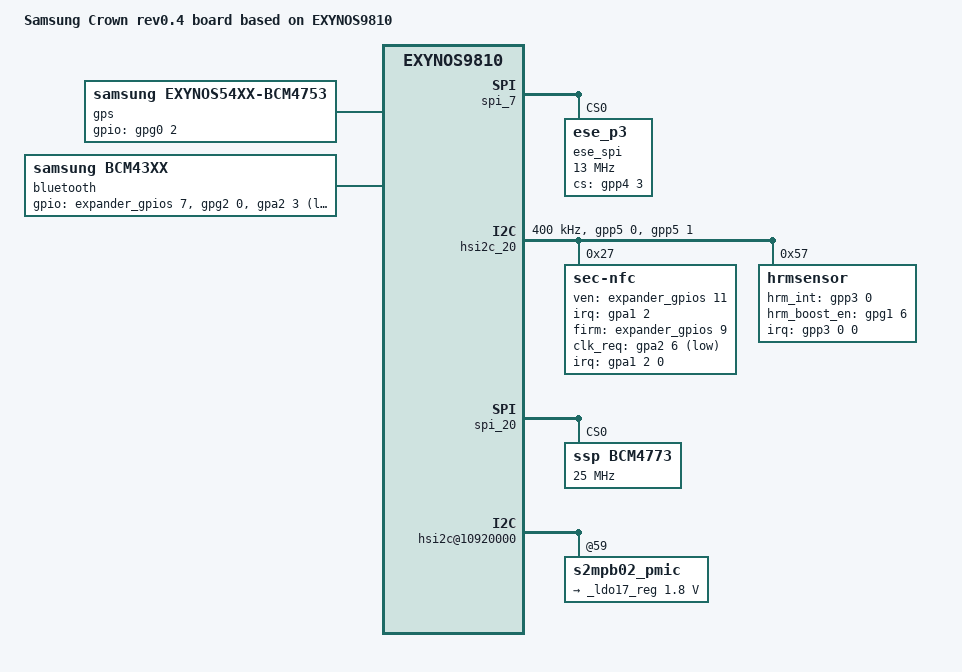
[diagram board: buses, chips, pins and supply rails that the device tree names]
/*
 * SAMSUNG EXYNOS9810 board device tree source
 *
 * Copyright (c) 2017 Samsung Electronics Co., Ltd.
 *		http://www.samsung.com
 *
 * This program is free software; you can redistribute it and/or modify
 * it under the terms of the GNU General Public License version 2 as
 * published by the Free Software Foundation.
 */

/dts-v1/;
#include "exynos9810-crownlte_common.dtsi"
#include "battery_data_crownlte_eur_23.dtsi"
#include "exynos9810-crownlte_fingerprint_19.dtsi"
#include "exynos9810-starlte_mst_01.dtsi"
#include "exynos9810-starlte_if-pmic-max77705.dtsi"
#include "exynos9810-crownlte_eur_open_gpio_01.dtsi"

/ {
	model = "Samsung Crown rev0.4 board based on EXYNOS9810";
	model_info-chip = <9810>;
	model_info-platform = "android";
	model_info-subtype = "samsung";
	model_info-hw_rev = <23>;
	model_info-hw_rev_end = <23>;
	compatible = "Samsung, Crown rev0.4", "Samsung,EXYNOS9810";

	pinctrl@10830000 {
		spi7_bus_suspend: spi7-bus-suspend {
			samsung,pins = "gpp4-2", "gpp4-1", "gpp4-0";
			samsung,pin-function = <0>;	/* INPUT */
			samsung,pin-pud = <1>;		/* DOWN */
			samsung,pin-drv = <0>;
		};
		spi7_cs_suspend: spi7-cs-suspend {
			samsung,pins = "gpp4-3";
			samsung,pin-function = <0>;	/* INPUT */
			samsung,pin-pud = <1>;		/* DOWN */
			samsung,pin-drv = <0>;
		};
	};
	/* SPI USI_PERIC1_USI06_SPI */
	spi_7: spi@108A0000 {
		status = "okay";
		/delete-property/ pinctrl-names;
		/delete-property/ pinctrl-0;

		ese_spi@0 {
			compatible = "ese_p3";
			reg = <0>;
			spi-max-frequency = <13000000>;
			gpio-controller;
			#gpio-cells = <2>;

			p3-vdd-1p8= "VDD_ESE_1P8";

			clocks = <&clock GATE_USI06>, <&clock USI06>;
			clock-names = "pclk", "sclk";
			ese_p3,cs-gpio = <&gpp4 3 0>;

			pinctrl-names = "ese_active", "ese_suspend";
			pinctrl-0 = <&spi7_bus &spi7_cs>;
			pinctrl-1 = <&spi7_bus_suspend &spi7_cs_suspend>;

			controller-data {
				samsung,spi-feedback-delay = <0>;
				samsung,spi-chip-select-mode = <0>;
			};
		};
	};

	/* USI08_USI */
	hsi2c_20: hsi2c@108E0000 {
		gpios = <&gpp5 0 0 &gpp5 1 0>;
		status = "okay";
		clock-frequency = <400000>;
		sec-nfc@27 {
			compatible = "sec-nfc";
			reg = <0x27>;

			interrupts = <2 0 0>;
			interrupt-parent = <&gpa1>;

			sec-nfc,ven-gpio = <&expander_gpios 11 0>;
			sec-nfc,irq-gpio = <&gpa1 2 0>;
			sec-nfc,firm-gpio = <&expander_gpios 9 0>;
			sec-nfc,clk_req-gpio = <&gpa2 6 0xf>;
			sec-nfc,clk_use = <2>;
			sec-nfc,nfc_pvdd = "VDD_NFC_1P8";

			clocks = <&clock OSC_NFC>;
			clock-names = "oscclk_nfc";
			sec-nfc,nfc_ap_clk;
			sec-nfc,ldo_control;
		};

		hrmsensor@57 {
			compatible = "hrmsensor";
			reg = <0x57>;
			interrupt-parent = <&gpp3>;
			interrupts = <0 0 0>;
			pinctrl-names = "default", "sleep", "idle";
			pinctrl-0 = <&hrm_irq &hrm_en>;
			pinctrl-1 = <&hrm_irqsleep &hrm_ensleep>;
			pinctrl-2 = <&hrm_irqidle &hrm_enidle>;
			hrmsensor,hrm_int-gpio = <&gpp3 0 0>;
			hrmsensor,hrm_boost_en-gpio = <&gpg1 6 0>;
			hrmsensor,vdd_1p8 = "HRM_1.8V_AP";
			hrmsensor,i2c_1p8 = "VDD_NFC_1P8";
			hrmsensor,thd = <100000 100000>;
			hrmsensor,init_curr = <0x46 0x41 0x28 0x3c>;
		};
	};

	pinctrl@10430000 {
		hrm_en: hrm-en {
			samsung,pins = "gpg1-6";
			samsung,pin-function = <0>;
			samsung,pin-pud = <1>;
			samsung,pin-drv = <2>;
		};

		hrm_ensleep: hrm-ensleep {
			samsung,pins = "gpg1-6";
			samsung,pin-con-pdn = <2>;
			samsung,pin-pud-pdn = <1>;
		};

		hrm_enidle: hrm-enidle {
			samsung,pins = "gpg1-6";
			samsung,pin-function = <0>;
			samsung,pin-pud = <1>;
			samsung,pin-drv = <2>;
		};

		cfg_wlanen: cfg_wlanen {
			samsung,pins = "gpg0-5";
			samsung,pin-function = <1>;
			samsung,pin-pud = <0>;
			samsung,pin-drv = <3>;
			samsung,pin-con-pdn = <3>;
		};
	};

	spi_20: spi@13AC0000{
		#address-cells = <1>;
		#size-cells = <0>;

		pinctrl-names = "default";
		pinctrl-0 = <&sensorhub_mosi_sck_ssn &sensorhub_miso>;

		num-cs = <1>;
		status = "okay";
	/*
	 *	dma-mode;
	 *	dmas = <&pdma0 21 0
	 *		&pdma0 20 0>;
	 */
		BCM4773@0 {
			compatible = "ssp,BCM4773";
			reg = <0>;
			/* spi-max-frequency = <26000000>; */
			spi-max-frequency = <25000000>;
			spi-cpol;
			spi-cpha;
			pinctrl-names = "default";
			pinctrl-0 = <&ssp_host_req &ssp_mcu_req &ssp_mcu_resp &ssp_batch_wake_irq &ssp_shub_int>;

			gpio-controller;
			#gpio-cells = <2>;
			ssp-host-req = <&gpa1 7 0x00>;
			ssp-mcu-req = <&gph0 5 0x00>;
			ssp-mcu-resp = <&gph0 4 0x00>;
			ssp-batch-wake-irq = <&gpa0 5 0x00>;
			ssp-shub-int = <&gpa4 0 0x00>;
			ssp-acc-position = <6>;
			ssp-mag-position = <6>;
			ssp-sns-combination = <0>;
			ssp-ap-rev = <1>;
			ssp-mag-array = /bits/ 8 <31 85 85 55 73 174 0 176 215 55 227 67 5 63 1 138 244 26 20 97
						187 255 117 255 12 49 134>;
			ssp-thermi-up = /bits/ 16 <3033 3003 2968 2922 2865 2794 2704 2614 2503 2382 2243 2090 1935
						1770 1612 1454 1301 1157 1020 899 800 691 611>;
			ssp-thermi-sub = /bits/ 16 <3033 3003 2968 2922 2865 2794 2704 2614 2503 2382 2243 2090 1935
						1770 1612 1454 1301 1157 1020 899 800 691 611>;
			ssp-glass-type = <0>;
			ssp-mag-type = <1>;
			ssp-vdd-mcu-1p8 = "vdd_mcu_1p8";

			controller-data {
				cs-gpio = <&gph0 3 0>;
				samsung,spi-feedback-delay = <0>;
			};
		};
	};

	pinctrl@10430000 {
		ssp_gps_pwr_en: ssp-gps-pwr-en {
			samsung,pins = "gpg0-2";
			samsung,pin-function = <1>;
			samsung,pin-pud = <1>;
			samsung,pin-drv = <3>;
			samsung,pin-con-pdn = <3>;
			samsung,pin-pud-pdn = <0>;
		};
	};

	gps {
		compatible = "samsung,exynos54xx-bcm4753";

		pinctrl-names = "hub_en";
		pinctrl-0 = <&ssp_gps_pwr_en>;

		gpios = <&gpg0 2 0x0>;
		status = "okay";
	};

	speedy@141C0000 {
		status = "okay";
		s2mps18mfd@00 {
			regulators {
				ldo37_reg: LDO37 {
					regulator-name = "vdd_mcu_1p8";
					regulator-min-microvolt = <1800000>;
					regulator-max-microvolt = <1800000>;
				};
			};
		};
	};

	pinctrl@14050000 {
		bt_hostwake: bt-hostwake {
			samsung,pins = "gpa2-3";
			samsung,pin-function = <0>;
			samsung,pin-pud = <0>;
		};
	};

	pinctrl@10430000 {
		bt_btwake: bt-btwake {
			samsung,pins = "gpg2-0";
			samsung,pin-function = <1>;
			samsung,pin-pud = <0>;
			samsung,pin-con-pdn = <3>;
			samsung,pin-pud-pdn = <0>;
		};
	};

	bluetooth {
		compatible = "samsung,bcm43xx";

		gpios = <&expander_gpios 7 0    /*BT_EN*/
			&gpg2 0 0    /*BT_WAKE*/
			&gpa2 3 0xF    /*BT_HOST_WAKE*/ >;
		pinctrl-names = "default";
		pinctrl-0=<&bt_hostwake &bt_btwake>;
		status = "okay";
	};

	hsi2c@10920000 {
		s2mpb02_pmic@59 {
			regulators {
				_ldo17_reg: s2mpb02-ldo17 {
					regulator-name = "VDD_GRIP_1P8";
					regulator-min-microvolt = <1800000>;
					regulator-max-microvolt = <1800000>;
					regulator-always-on;
					regulator-boot-on;
				};
			};
		};
	};

	dwmmc2@11500000 {
		ssc-rate = <3>;
	};

	pinctrl@11430000 {
		sd2_cmd: sd2-cmd {
			samsung,pins = "gpf1-1";
			samsung,pin-function = <2>;
			samsung,pin-pud = <0>;
			samsung,pin-drv = <3>;
		};

		sd2_bus1: sd2-bus-width1 {
			samsung,pins = "gpf1-2";
			samsung,pin-function = <2>;
			samsung,pin-pud = <0>;
			samsung,pin-drv = <3>;
		};

		sd2_bus4: sd2-bus-width4 {
			samsung,pins = "gpf1-3", "gpf1-4", "gpf1-5";
			samsung,pin-function = <2>;
			samsung,pin-pud = <0>;
			samsung,pin-drv = <3>;
		};
	};
};
